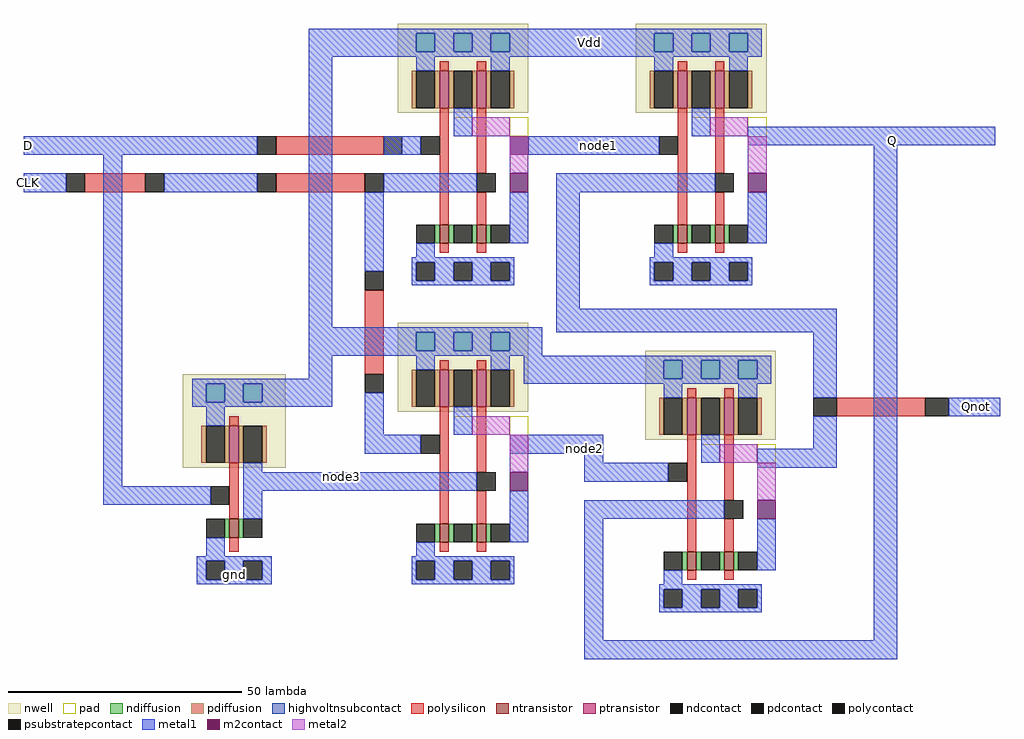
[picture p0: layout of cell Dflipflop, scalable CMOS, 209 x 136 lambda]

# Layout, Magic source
magic
tech scmos
<< nwell >>
rect -43 -39 -21 -19
<< polysilicon >>
rect -23 28 0 32
rect -64 20 -51 24
rect -23 20 -4 24
rect -4 -19 0 -1
rect 97 -28 116 -24
rect -33 -30 -31 -28
rect -33 -50 -31 -38
rect -33 -57 -31 -54
<< ndiffusion >>
rect -34 -54 -33 -50
rect -31 -54 -30 -50
<< pdiffusion >>
rect -39 -38 -38 -30
rect -34 -38 -33 -30
rect -31 -38 -30 -30
rect -26 -38 -25 -30
<< metal1 >>
rect -16 49 4 55
rect 29 49 55 55
rect -77 28 -27 32
rect -77 20 -68 24
rect -60 -43 -56 28
rect -47 20 -27 24
rect -16 -9 -11 49
rect 4 28 7 32
rect 31 28 51 32
rect 78 30 131 34
rect -4 3 0 20
rect 37 20 61 24
rect 37 -5 42 20
rect -16 -15 4 -9
rect 30 -15 34 -9
rect 37 -10 97 -5
rect -16 -20 -11 -15
rect -41 -21 -11 -20
rect -41 -25 -38 -21
rect -34 -25 -30 -21
rect -26 -25 -11 -21
rect -41 -26 -11 -25
rect 30 -21 59 -15
rect -38 -30 -34 -26
rect -4 -32 0 -23
rect 92 -24 97 -10
rect -4 -36 8 -32
rect 27 -36 47 -32
rect 92 -35 97 -28
rect -30 -40 -26 -38
rect 43 -38 47 -36
rect -60 -47 -37 -43
rect -30 -44 0 -40
rect 43 -42 61 -38
rect 80 -39 97 -35
rect -30 -50 -26 -44
rect 43 -50 54 -46
rect -38 -58 -34 -54
rect -40 -59 -24 -58
rect -40 -63 -38 -59
rect -34 -63 -30 -59
rect -26 -63 -24 -59
rect -40 -64 -24 -63
rect 43 -76 47 -50
rect 105 -76 110 30
rect 121 -28 132 -24
rect 43 -80 110 -76
<< ntransistor >>
rect -33 -54 -31 -50
<< ptransistor >>
rect -33 -38 -31 -30
<< polycontact >>
rect -27 28 -23 32
rect 0 28 4 32
rect -68 20 -64 24
rect -51 20 -47 24
rect -27 20 -23 24
rect -4 20 0 24
rect -4 -1 0 3
rect -4 -23 0 -19
rect 92 -28 97 -24
rect 116 -28 121 -24
rect -37 -47 -33 -43
<< ndcontact >>
rect -38 -54 -34 -50
rect -30 -54 -26 -50
<< pdcontact >>
rect -38 -38 -34 -30
rect -30 -38 -26 -30
<< m2contact >>
rect 27 28 31 32
<< psubstratepcontact >>
rect -38 -63 -34 -59
rect -30 -63 -26 -59
<< highvoltnsubcontact >>
rect -38 -25 -34 -21
rect -30 -25 -26 -21
<< pad >>
rect 78 30 82 33
rect 27 -36 31 -32
rect 80 -39 84 -35
use nand nand_0
transform 1 0 16 0 1 36
box -16 -36 15 20
use nand nand_2
transform 1 0 67 0 1 36
box -16 -36 15 20
use nand nand_1
transform 1 0 16 0 1 -28
box -16 -36 15 20
use nand nand_3
transform 1 0 69 0 1 -34
box -16 -36 15 20
<< labels >>
rlabel metal1 44 52 44 52 5 Vdd
rlabel metal1 -32 -62 -32 -62 1 gnd
rlabel metal1 -76 30 -76 30 3 D
rlabel metal1 -76 22 -76 22 3 CLK
rlabel metal1 46 30 46 30 1 node1
rlabel metal1 43 -35 43 -35 1 node2
rlabel metal1 -9 -41 -9 -41 1 node3
rlabel metal1 109 31 109 31 1 Q
rlabel metal1 127 -26 127 -26 7 Qnot
<< end >>

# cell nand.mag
magic
tech scmos
<< nwell >>
rect -13 1 15 20
<< polysilicon >>
rect -4 10 -2 12
rect 4 10 6 12
rect -4 -23 -2 2
rect 4 -12 6 2
rect 4 -23 6 -16
rect -4 -29 -2 -27
rect 4 -29 6 -27
<< ndiffusion >>
rect -5 -27 -4 -23
rect -2 -27 -1 -23
rect 3 -27 4 -23
rect 6 -27 7 -23
<< pdiffusion >>
rect -10 2 -9 10
rect -5 2 -4 10
rect -2 2 -1 10
rect 3 2 4 10
rect 6 2 7 10
rect 11 2 12 10
<< metal1 >>
rect -12 18 14 19
rect -12 14 -9 18
rect -5 14 -1 18
rect 3 14 7 18
rect 11 14 14 18
rect -12 13 14 14
rect -9 10 -5 13
rect 7 10 11 13
rect -1 -4 3 2
rect -16 -8 -8 -4
rect -16 -16 4 -12
rect 11 -27 15 -16
rect -9 -30 -5 -27
rect -10 -31 12 -30
rect -10 -35 -9 -31
rect -5 -35 -1 -31
rect 3 -35 7 -31
rect 11 -35 12 -31
rect -10 -36 12 -35
<< metal2 >>
rect 3 -4 11 0
rect 11 -12 15 -4
<< ntransistor >>
rect -4 -27 -2 -23
rect 4 -27 6 -23
<< ptransistor >>
rect -4 2 -2 10
rect 4 2 6 10
<< polycontact >>
rect -8 -8 -4 -4
rect 4 -16 8 -12
<< ndcontact >>
rect -9 -27 -5 -23
rect -1 -27 3 -23
rect 7 -27 11 -23
<< pdcontact >>
rect -9 2 -5 10
rect -1 2 3 10
rect 7 2 11 10
<< m2contact >>
rect 11 -16 15 -12
<< psubstratepcontact >>
rect -9 -35 -5 -31
rect -1 -35 3 -31
rect 7 -35 11 -31
<< highvoltnsubcontact >>
rect -9 14 -5 18
rect -1 14 3 18
rect 7 14 11 18
<< pad >>
rect -1 -4 3 0
rect 11 -4 15 0
<< labels >>
rlabel metal1 5 16 5 16 5 vdd
rlabel metal1 5 -33 5 -33 1 gnd
rlabel metal1 -10 -6 -10 -6 1 in1
rlabel metal1 -9 -14 -9 -14 1 in2
rlabel metal2 13 -9 13 -9 7 out
<< end >>
